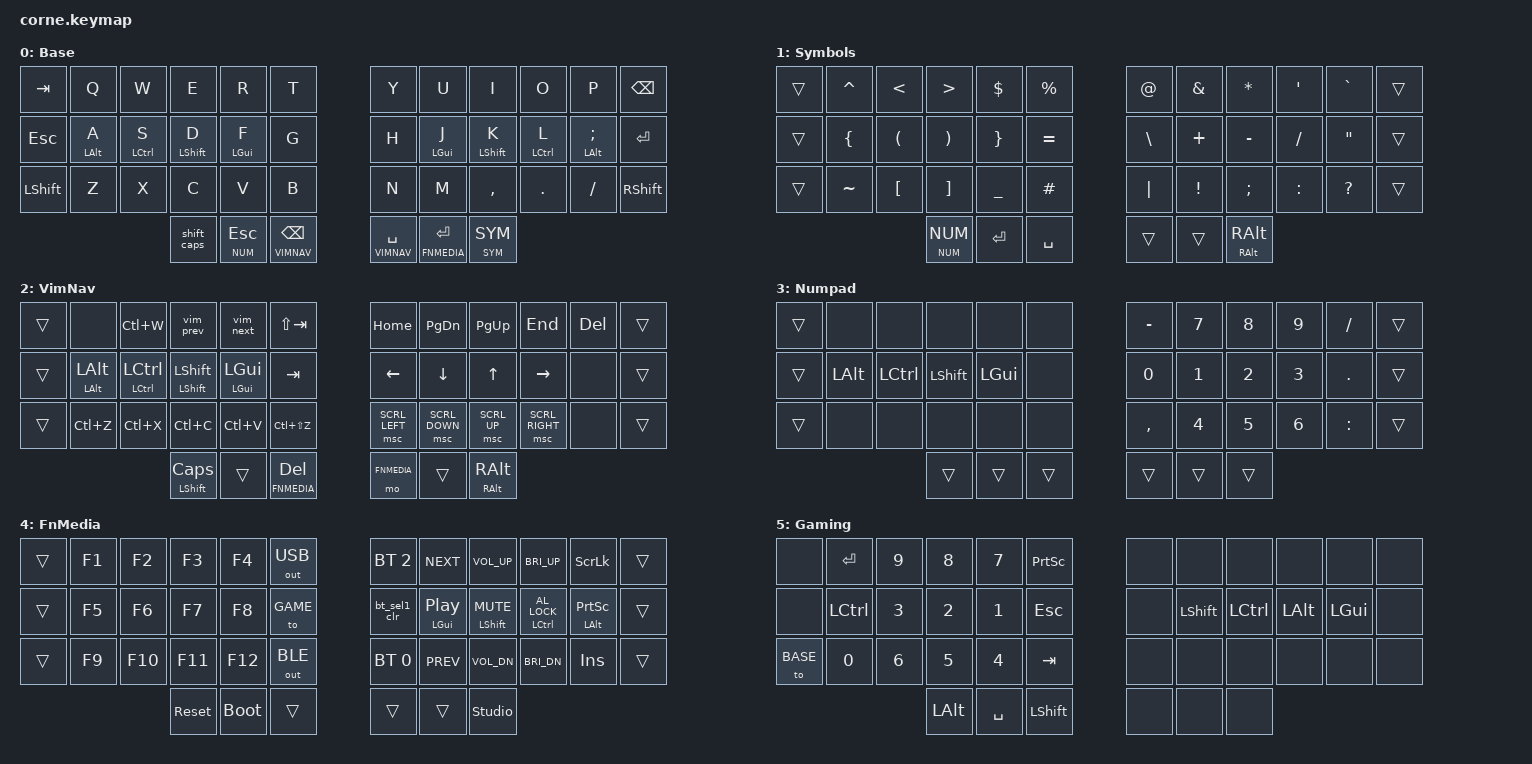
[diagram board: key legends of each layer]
// Selenium (home row mods flavor, vim navigation), ported from https://github.com/OneDeadKey/zmk-config-aekeynox
// QWERTY alphas, US QWERTY host layout, stock ZMK behaviors only.

#define ZMK_POINTING_DEFAULT_SCRL_VAL 25  // default=10 (too slow)

#include <behaviors.dtsi>
#include <dt-bindings/zmk/keys.h>
#include <dt-bindings/zmk/bt.h>
#include <dt-bindings/zmk/outputs.h>
#include <dt-bindings/zmk/pointing.h>

#define BASE        0
#define SYM         1
#define VIMNAV      2
#define NUM         3
#define FNMEDIA     4
#define GAME        5

// Timing is key!
#define TAPPING_TERM        300  // tap-preferred hold-taps: Space, sticky Shift/Sym
#define SHORT_TAPPING_TERM  150  // hold-preferred hold-taps: Backspace, Esc, Enter
#define QUICK_TAP           200

#define HRM_TAPPING_TERM    280  // home row mods (timeless, see hml/hmr)
#define HRM_QUICK_TAP       175
#define HRM_PRIOR_IDLE      150

// Key positions, for the home row mods' hold-trigger-key-positions
#define KEYS_L  0  1  2  3  4  5 12 13 14 15 16 17 24 25 26 27 28 29
#define KEYS_R  6  7  8  9 10 11 18 19 20 21 22 23 30 31 32 33 34 35
#define THUMBS 36 37 38 39 40 41

&lt {
    tapping-term-ms = <TAPPING_TERM>;
    quick-tap-ms = <QUICK_TAP>;
};

&mt {
    tapping-term-ms = <SHORT_TAPPING_TERM>;
    quick-tap-ms = <QUICK_TAP>;
};

&sl { ignore-modifiers; };  // keep sticky mods when chained into a sticky layer
&sk { quick-release; };     // release the sticky mod as soon as the next key is pressed

/ {
    behaviors {
        // urob's timeless home row mods: a mod only when the next key is on the other hand
        // (or a thumb), and never while typing fast
        hml: homerow_mods_left {
            compatible = "zmk,behavior-hold-tap";
            #binding-cells = <2>;
            flavor = "balanced";
            tapping-term-ms = <HRM_TAPPING_TERM>;
            quick-tap-ms = <HRM_QUICK_TAP>;
            require-prior-idle-ms = <HRM_PRIOR_IDLE>;
            hold-trigger-key-positions = <KEYS_R THUMBS>;
            hold-trigger-on-release;
            bindings = <&kp>, <&kp>;
        };

        hmr: homerow_mods_right {
            compatible = "zmk,behavior-hold-tap";
            #binding-cells = <2>;
            flavor = "balanced";
            tapping-term-ms = <HRM_TAPPING_TERM>;
            quick-tap-ms = <HRM_QUICK_TAP>;
            require-prior-idle-ms = <HRM_PRIOR_IDLE>;
            hold-trigger-key-positions = <KEYS_L THUMBS>;
            hold-trigger-on-release;
            bindings = <&kp>, <&kp>;
        };

        sc: space_cadet {  // same as lt, but hold-preferred: layer unless tapped quickly
            compatible = "zmk,behavior-hold-tap";
            #binding-cells = <2>;
            flavor = "hold-preferred";
            tapping-term-ms = <SHORT_TAPPING_TERM>;
            quick-tap-ms = <QUICK_TAP>;
            bindings = <&mo>, <&kp>;
        };

        // Sticky layer / sticky key with a more robust timing: tap = one-shot, hold = momentary
        osl: one_shot_layer {
            compatible = "zmk,behavior-macro-one-param";
            #binding-cells = <1>;
            tap-ms = <0>;
            wait-ms = <0>;
            bindings = <&macro_param_1to1>, <&macro_tap &sl MACRO_PLACEHOLDER>;
        };

        bsl: better_sticky_layer {
            compatible = "zmk,behavior-hold-tap";
            #binding-cells = <2>;
            flavor = "tap-preferred";
            tapping-term-ms = <TAPPING_TERM>;
            bindings = <&mo>, <&osl>;
        };

        osm: one_shot_modifier {
            compatible = "zmk,behavior-macro-one-param";
            #binding-cells = <1>;
            tap-ms = <0>;
            wait-ms = <0>;
            bindings = <&macro_param_1to1>, <&macro_tap &sk MACRO_PLACEHOLDER>;
        };

        bsk: better_sticky_key {
            compatible = "zmk,behavior-hold-tap";
            #binding-cells = <2>;
            flavor = "tap-preferred";
            tapping-term-ms = <TAPPING_TERM>;
            hold-while-undecided;
            bindings = <&kp>, <&osm>;
        };

        shift_caps: shift_caps {  // tap: sticky shift | double tap: caps word
            compatible = "zmk,behavior-mod-morph";
            #binding-cells = <0>;
            bindings = <&bsk LSHFT LSHFT>, <&unshift_caps>;
            mods = <(MOD_LSFT)>;
        };

        unshift_caps: unshift_caps {  // drop the pending sticky shift, then enable caps word
            compatible = "zmk,behavior-macro";
            #binding-cells = <0>;
            bindings = <&macro_tap &kp K_CANCEL>, <&caps_word>;
        };

        // Go back to the base layer, then press (hold) or stick (tap) a modifier
        lkp: goto_layer_then_keypress {
            compatible = "zmk,behavior-macro-one-param";
            #binding-cells = <1>;
            tap-ms = <0>;
            wait-ms = <0>;
            bindings
                = <&macro_tap &to BASE>
                , <&macro_param_1to1>
                , <&macro_press &kp MACRO_PLACEHOLDER>
                , <&macro_pause_for_release>
                , <&macro_param_1to1>
                , <&macro_release &kp MACRO_PLACEHOLDER>
                ;
        };

        losm: goto_layer_then_osm {
            compatible = "zmk,behavior-macro-one-param";
            #binding-cells = <1>;
            tap-ms = <0>;
            wait-ms = <0>;
            bindings
                = <&macro_tap &to BASE>
                , <&macro_param_1to1>
                , <&macro_tap &sk MACRO_PLACEHOLDER>
                ;
        };

        lbsk: bsk_on_other_layer {
            compatible = "zmk,behavior-hold-tap";
            #binding-cells = <2>;
            flavor = "tap-preferred";
            tapping-term-ms = <TAPPING_TERM>;
            bindings = <&lkp>, <&losm>;
        };

        vim_prev: vim_prev {  // tap: back (Alt+Left) | with Alt/GUI: Shift+` (previous window)
            compatible = "zmk,behavior-mod-morph";
            #binding-cells = <0>;
            bindings = <&kp LA(LEFT)>, <&kp LS(GRAVE)>;
            mods = <(MOD_LALT|MOD_LGUI)>;
            keep-mods = <(MOD_LALT|MOD_LGUI)>;
        };

        vim_next: vim_next {  // tap: forward (Alt+Right) | with Alt/GUI: ` (next window)
            compatible = "zmk,behavior-mod-morph";
            #binding-cells = <0>;
            bindings = <&kp LA(RIGHT)>, <&kp GRAVE>;
            mods = <(MOD_LALT|MOD_LGUI)>;
            keep-mods = <(MOD_LALT|MOD_LGUI)>;
        };

        bt_sel1_clr: bt_sel1_clr {  // tap: BT profile 1 | shift + tap: clear profile
            compatible = "zmk,behavior-mod-morph";
            #binding-cells = <0>;
            bindings = <&bt BT_SEL 1>, <&bt BT_CLR>;
            mods = <(MOD_LSFT)>;
        };
    };

// Selenium, timeless HRM: pinky Alt, ring Ctrl, middle Shift (shortcuts only), index GUI (most used mod with Hyprland),
// so Ctrl+Alt, Ctrl+Shift and Shift+GUI are adjacent fingers; the same mod order on every layer;
// type capitals with the sticky Shift thumb; Sym twice = sticky AltGr (altgr-intl accents)
//
//   Tab  q w e r t   y u i o p  Bspc
//   Esc  a s d f g   h j k l ;  Ret
//   ⇧    z x c v b   n m , . /  ⇧
//    ⇧ Esc/Num Bspc/VimNav   Spc/VimNav Ret/FnMedia Sym

    keymap {
        compatible = "zmk,keymap";

        base_layer {
            display-name = "Base";
            bindings = <
&kp TAB    &kp Q        &kp W        &kp E         &kp R        &kp T            &kp Y            &kp U        &kp I         &kp O        &kp P           &kp BSPC
&kp ESC    &hml LALT A   &hml LCTRL S  &hml LSHFT D  &hml LGUI F  &kp G            &kp H            &hmr LGUI J  &hmr LSHFT K  &hmr LCTRL L  &hmr LALT SEMI   &kp RET
&kp LSHFT  &kp Z        &kp X        &kp C         &kp V        &kp B            &kp N            &kp M        &kp COMMA     &kp DOT      &kp FSLH        &kp RSHFT
                                     &shift_caps   &sc NUM ESC  &sc VIMNAV BSPC  &lt VIMNAV SPACE  &sc FNMEDIA RET  &bsl SYM SYM
            >;
        };

        sym_layer {  // Sym again: sticky AltGr via the base layer (&sl ignores mods, so Sym would stay on for the next key)
            display-name = "Symbols";
            bindings = <
&trans  &kp CARET  &kp LT    &kp GT    &kp DLLR   &kp PRCNT          &kp AT    &kp AMPS  &kp STAR   &kp SQT    &kp GRAVE  &trans
&trans  &kp LBRC   &kp LPAR  &kp RPAR  &kp RBRC   &kp EQUAL          &kp BSLH  &kp PLUS  &kp MINUS  &kp FSLH   &kp DQT    &trans
&trans  &kp TILDE  &kp LBKT  &kp RBKT  &kp UNDER  &kp HASH           &kp PIPE  &kp EXCL  &kp SEMI   &kp COLON  &kp QMARK  &trans
                             &bsl NUM NUM  &kp RET  &kp SPACE  &trans    &trans    &lbsk RALT RALT
            >;
        };

        vimnav_layer {  // left home row: sticky mods (tap = one-shot, hold = held), same order as the HRMs
            display-name = "VimNav";
            bindings = <
&trans  &none           &kp LC(W)         &vim_prev         &vim_next       &kp LS(TAB)       &kp HOME          &kp PG_DN         &kp PG_UP       &kp END            &kp DEL  &trans
&trans  &bsk LALT LALT  &bsk LCTRL LCTRL  &bsk LSHFT LSHFT  &bsk LGUI LGUI  &kp TAB           &kp LEFT          &kp DOWN          &kp UP          &kp RIGHT          &none    &trans
&trans  &kp LC(Z)       &kp LC(X)         &kp LC(C)         &kp LC(V)       &kp LC(LS(Z))     &msc SCRL_LEFT    &msc SCRL_DOWN    &msc SCRL_UP    &msc SCRL_RIGHT    &none    &trans
                   &mt LSHFT CAPS  &trans  &sc FNMEDIA DEL              &mo FNMEDIA       &trans            &lbsk RALT RALT
            >;
        };

        num_layer {  // numpad on the right, plain mods on the left (e.g. GUI + number for workspaces)
            display-name = "Numpad";
            bindings = <
&trans  &none      &none      &none      &none      &none          &kp MINUS  &kp N7  &kp N8  &kp N9  &kp FSLH   &trans
&trans  &kp LALT   &kp LCTRL  &kp LSHFT  &kp LGUI   &none          &kp N0     &kp N1  &kp N2  &kp N3  &kp DOT    &trans
&trans  &none      &none      &none      &none      &none          &kp COMMA  &kp N4  &kp N5  &kp N6  &kp COLON  &trans
                              &trans     &trans     &trans         &trans     &trans  &trans
            >;
        };

        fnmedia_layer {
            display-name = "FnMedia";
            bindings = <
&trans  &kp F1  &kp F2   &kp F3   &kp F4   &out OUT_USB          &bt BT_SEL 2    &kp C_NEXT       &kp C_VOL_UP      &kp C_BRI_UP        &kp SLCK         &trans
&trans  &kp F5  &kp F6   &kp F7   &kp F8   &to GAME              &bt_sel1_clr    &hmr LGUI C_PP   &hmr LSHFT C_MUTE &hmr LCTRL C_AL_LOCK &hmr LALT PSCRN  &trans
&trans  &kp F9  &kp F10  &kp F11  &kp F12  &out OUT_BLE          &bt BT_SEL 0    &kp C_PREV       &kp C_VOL_DN      &kp C_BRI_DN        &kp INS          &trans
                         &sys_reset  &bootloader  &trans         &trans          &trans           &studio_unlock
            >;
        };

        game_layer {
            display-name = "Gaming";
            bindings = <
&none     &kp RET    &kp N9  &kp N8     &kp N7     &kp PSCRN  &none  &none      &none      &none     &none     &none
&none     &kp LCTRL  &kp N3  &kp N2     &kp N1     &kp ESC    &none  &kp LSHFT  &kp LCTRL  &kp LALT  &kp LGUI  &none
&to BASE  &kp N0     &kp N6  &kp N5     &kp N4     &kp TAB    &none  &none      &none      &none     &none     &none
                             &kp LALT   &kp SPACE  &kp LSHFT  &none  &none      &none
            >;
        };
    };
};
